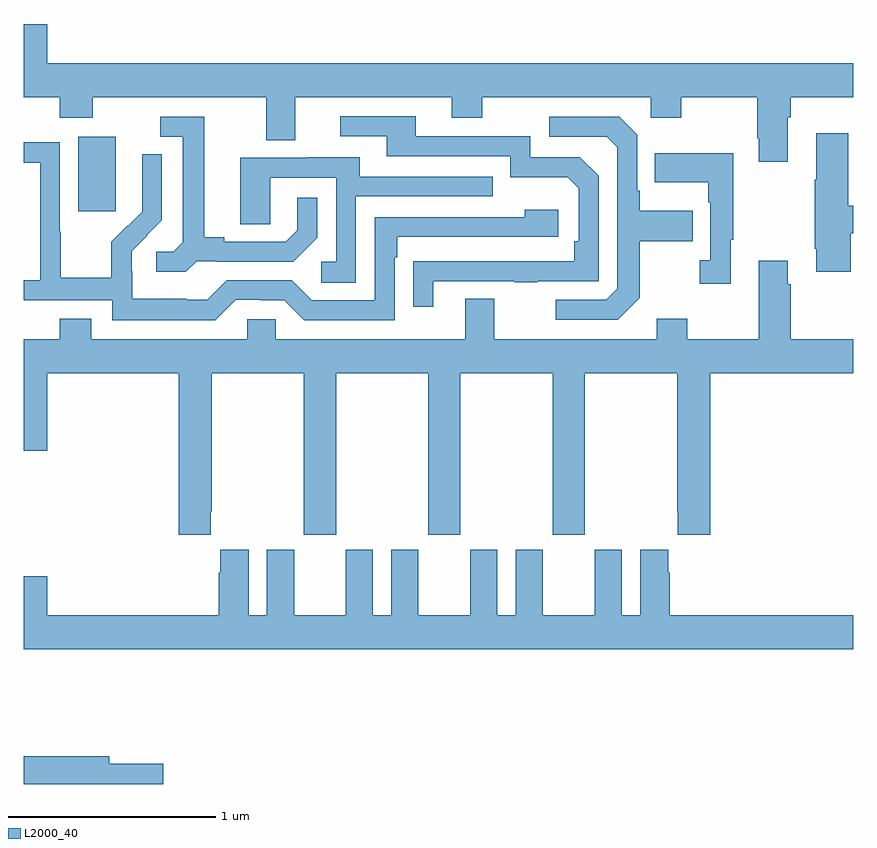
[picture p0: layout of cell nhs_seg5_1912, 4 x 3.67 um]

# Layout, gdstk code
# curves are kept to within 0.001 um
import gdstk
lib = gdstk.Library(unit=1e-6, precision=1e-09)
def R(c, l, rs):  # rectangles x0, y0, x1, y1
    for r in rs: c.add(gdstk.rectangle(r[:2], r[2:], *l))
def P(c, l, *ps):  # polygons
    for p in ps: c.add(gdstk.Polygon(p, *l))
L2000_40 = (2000, 40)

nhs_seg5_1912 = lib.new_cell('nhs_seg5_1912')
R(nhs_seg5_1912, L2000_40, [(225.263,837.561,225.442,837.922)])
P(nhs_seg5_1912, L2000_40, [(225.112,838.465),(225,838.465),(225,838.112),(225.173,838.112),(225.173,838.013),(225.333,838.013),(225.333,838.112),(226.169,838.112),(226.169,837.904),(226.309,837.904),(226.309,838.112),(227.063,838.112),(227.063,838.013),(227.211,838.013),(227.211,838.112),(228.024,838.112),(228.024,838.013),(228.171,838.013),(228.171,838.112),(228.538,838.112),(228.538,837.913),(228.545,837.913),(228.545,837.801),(228.685,837.801),(228.685,838.016),(228.698,838.016),(228.698,838.112),(229,838.112),(229,838.276),(225.112,838.276)],
  [(226.975,837.225),(227.365,837.225),(227.365,837.22),(227.477,837.22),(227.477,837.225),(227.772,837.225),(227.772,837.732),(227.682,837.822),(227.442,837.822),(227.442,837.924),(226.891,837.924),(226.891,838.02),(226.527,838.02),(226.527,837.924),(226.751,837.924),(226.751,837.828),(227.346,837.828),(227.346,837.725),(227.623,837.725),(227.676,837.672),(227.676,837.418),(227.656,837.418),(227.656,837.321),(226.879,837.32),(226.879,837.102),(226.975,837.102)],
  [(225.834,837.321),(225.928,837.321),(225.928,837.318),(226.3,837.318),(226.416,837.434),(226.416,837.628),(226.319,837.628),(226.319,837.471),(226.262,837.414),(225.967,837.414),(225.967,837.437),(225.871,837.437),(225.871,838.017),(225.657,838.017),(225.657,837.921),(225.767,837.921),(225.767,837.413),(225.72,837.366),(225.639,837.366),(225.639,837.269),(225.782,837.269)],
  [(227.971,837.145),(227.971,837.418),(228.227,837.418),(228.227,837.565),(227.971,837.565),(227.971,837.661),(227.958,837.661),(227.958,837.93),(227.871,838.017),(227.535,838.017),(227.535,837.921),(227.811,837.921),(227.862,837.87),(227.862,837.189),(227.808,837.135),(227.565,837.135),(227.565,837.039),(227.865,837.039)],
  [(228.989,837.455),(229,837.455),(229,837.589),(228.976,837.589),(228.976,837.937),(228.821,837.937),(228.821,837.713),(228.814,837.713),(228.814,837.382),(228.821,837.382),(228.821,837.27),(228.989,837.27)],
  [(226.023,837.135),(226.139,837.135),(226.139,837.132),(226.257,837.132),(226.353,837.036),(226.788,837.036),(226.788,837.341),(226.801,837.341),(226.801,837.438),(227.578,837.438),(227.578,837.568),(227.417,837.568),(227.417,837.534),(226.692,837.534),(226.692,837.132),(226.389,837.132),(226.293,837.228),(225.978,837.228),(225.885,837.135),(225.785,837.135),(225.785,837.139),(225.522,837.139),(225.522,837.273),(225.52,837.273),(225.52,837.37),(225.666,837.518),(225.666,837.836),(225.57,837.836),(225.57,837.682),(225.572,837.682),(225.572,837.56),(225.501,837.489),(225.498,837.492),(225.421,837.415),(225.421,837.241),(225.177,837.241),(225.177,837.464),(225.174,837.464),(225.174,837.894),(225,837.894),(225,837.795),(225.078,837.795),(225.078,837.228),(225,837.228),(225,837.132),(225.426,837.132),(225.426,837.035),(225.923,837.035)],
  [(228.409,837.425),(228.421,837.425),(228.421,837.841),(228.043,837.841),(228.043,837.701),(228.3,837.701),(228.3,837.605),(228.312,837.605),(228.312,837.326),(228.261,837.326),(228.261,837.213),(228.409,837.213)],
  [(226.602,837.633),(227.261,837.633),(227.261,837.729),(226.621,837.729),(226.621,837.823),(226.367,837.823),(226.367,837.819),(226.043,837.819),(226.043,837.499),(226.188,837.499),(226.188,837.723),(226.506,837.723),(226.506,837.318),(226.434,837.318),(226.434,837.217),(226.602,837.217)],
  [(225.901,836.113),(225.906,836.113),(225.906,836.78),(226.351,836.78),(226.351,836.001),(226.506,836.001),(226.506,836.78),(226.951,836.78),(226.951,836.001),(227.106,836.001),(227.106,836.78),(227.551,836.78),(227.551,836.001),(227.706,836.001),(227.706,836.78),(228.151,836.78),(228.151,836.113),(228.155,836.113),(228.155,836.001),(228.311,836.001),(228.311,836.78),(229,836.78),(229,836.944),(228.698,836.944),(228.698,837.209),(228.685,837.209),(228.685,837.322),(228.545,837.322),(228.545,836.944),(228.201,836.944),(228.201,837.043),(228.053,837.043),(228.053,836.944),(227.269,836.944),(227.269,837.139),(227.129,837.139),(227.129,836.944),(226.215,836.944),(226.215,837.042),(226.077,837.042),(226.077,836.944),(225.325,836.944),(225.325,837.043),(225.173,837.043),(225.173,836.944),(225,836.944),(225,836.406),(225.112,836.406),(225.112,836.78),(225.746,836.78),(225.746,836.001),(225.901,836.001)],
  [(229,835.612),(228.116,835.612),(228.116,835.817),(228.109,835.817),(228.109,835.93),(227.972,835.93),(227.972,835.612),(227.884,835.612),(227.884,835.93),(227.753,835.93),(227.753,835.612),(227.503,835.612),(227.503,835.93),(227.372,835.93),(227.372,835.612),(227.284,835.612),(227.284,835.93),(227.153,835.93),(227.153,835.612),(226.903,835.612),(226.903,835.93),(226.772,835.93),(226.772,835.612),(226.684,835.612),(226.684,835.93),(226.553,835.93),(226.553,835.612),(226.303,835.612),(226.303,835.93),(226.172,835.93),(226.172,835.612),(226.084,835.612),(226.084,835.93),(225.947,835.93),(225.947,835.817),(225.941,835.817),(225.941,835.612),(225.112,835.612),(225.112,835.801),(225,835.801),(225,835.448),(229,835.448)],
  [(225.673,834.896),(225.412,834.896),(225.412,834.932),(225,834.932),(225,834.799),(225.673,834.799)])

lib.write_gds('nhs_seg5_1912.gds')
